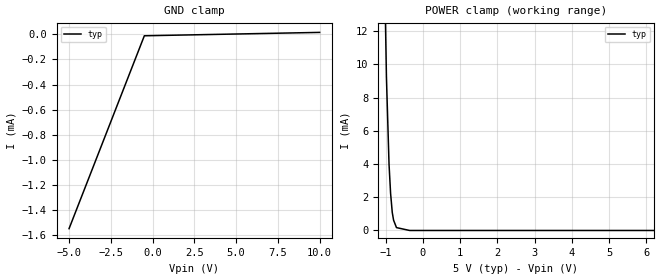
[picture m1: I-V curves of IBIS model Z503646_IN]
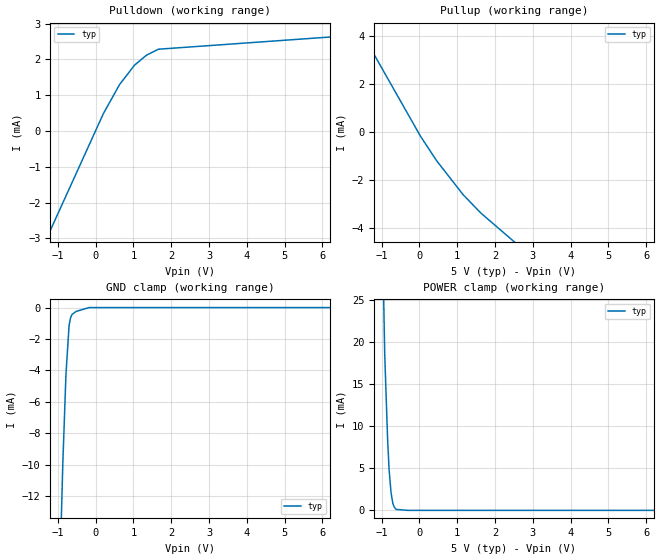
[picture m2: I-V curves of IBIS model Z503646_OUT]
| YOU ARE ONLY AUTHORIZED TO USE THIS SOFTWARE
| ACCORDING TO LICENSOR'S LICENSE RESTRICTIONS.
[IBIS Ver] 3.1
[File Name] mc14527bd.ibs
[File Rev] 2.0
[Source] Measured and created by ICX Technology
[Date] Friday 7/14/00 9:07:56 AM
[Copyright]
| (C) COPYRIGHT 1993-2000
| MENTOR GRAPHICS CORPORATION
| ICX STANDARD LIBRARY, ICX PROJECT MODELING,
| ICX CUSTOM MODELING, ICX VENDOR MODEL
| ALL RIGHTS RESERVED.
| THE FOLLOWING ARE TRADEMARKS OR SERVICE MARKS OF
| MENTOR GRAPHICS CORPORATION:ICX (R), ICX STANDARD
| LIBRARY(R), ICX PROJECT MODELING(R), ICX CUSTOM
| MODELING(R), qualityIBIS(TM), MODELVIEWER(TM),
| AND MODELEDITOR(TM)
| ALL COPIES OF SOFTWARE, INCLUDING BUT NOT LIMITED TO
| ANY MODIFICATIONS, ENHANCEMENTS OR DERIVATIVE WORKS,
| MUST CONTAIN ALL MENTOR GRAPHICS CORPORATION'S
| NOTICES AND LEGENDS, INCLUDING THOSE EMBEDDED IN
| SOFTWARE AND THOSE AFFIXED TO SOFTWARE MEDIUM
| AND CONTAINER, AS RECEIVED FROM MENTOR GRAPHICS
| CORPORATION.
|  ZAP Model Builder 2.7
[Component] MC14527BD
[Manufacturer] OnSemiconductor
[Package]
| variable   typ   min   max
R_pkg  .156ohms NA NA
L_pkg  3.148nH NA NA
C_pkg  .388pF NA NA
[Pin] signal_name  model_name  R_pin  L_pin C_pin
1 9OUT Z503646_OUT .162 3.798n .418p
2 C Z503646_IN .158 3.358n .398p
3 D Z503646_IN .154 2.928n .378p
4 SET9 Z503646_IN .15 2.508n .358p
5 _OUT Z503646_OUT .15 2.508n .358p
6 OUT Z503646_OUT .154 2.928n .378p
7 EOUT Z503646_OUT .158 3.358n .398p
8 VSS POWER .162 3.798n .418p
9 CLK Z503646_IN .162 3.798n .418p
10 STRB Z503646_IN .158 3.358n .398p
11 _EIN Z503646_IN .154 2.928n .378p
12 CASC Z503646_IN .15 2.508n .358p
13 CLR Z503646_IN .15 2.508n .358p
14 A Z503646_IN .154 2.928n .378p
15 B Z503646_IN .158 3.358n .398p
16 VDD POWER .162 3.798n .418p
| Models and submodels in the file (2): Z503646_IN (Input), Z503646_OUT (Output)
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| (C) COPYRIGHT 1993-2000
| MENTOR GRAPHICS CORPORATION
| ICX STANDARD LIBRARY, ICX PROJECT MODELING,
| ICX CUSTOM MODELING, ICX VENDOR MODEL
| ALL RIGHTS RESERVED.
| THE FOLLOWING ARE TRADEMARKS OR SERVICE MARKS OF
| MENTOR GRAPHICS CORPORATION:ICX (R), ICX STANDARD
| LIBRARY(R), ICX PROJECT MODELING(R), ICX CUSTOM
| MODELING(R), qualityIBIS(TM), MODELVIEWER(TM),
| AND MODELEDITOR(TM)
| ALL COPIES OF SOFTWARE, INCLUDING BUT NOT LIMITED TO
| ANY MODIFICATIONS, ENHANCEMENTS OR DERIVATIVE WORKS,
| MUST CONTAIN ALL MENTOR GRAPHICS CORPORATION'S
| NOTICES AND LEGENDS, INCLUDING THOSE EMBEDDED IN
| SOFTWARE AND THOSE AFFIXED TO SOFTWARE MEDIUM
| AND CONTAINER, AS RECEIVED FROM MENTOR GRAPHICS
| CORPORATION.
| Model Application Version 1.89 2/18/99.
[Model] Z503646_IN
Model_type Input
Vinl = 1.500V
Vinh = 3.500V
C_comp 4.000pF NA NA
| variable typ   min   max
[Voltage Range] 5.000V NA NA
[GND Clamp Reference] 0.000V NA NA
[POWER Clamp Reference] 5.000V NA NA
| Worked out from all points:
|   POWER clamp passes 1 mA (typ) near -0.81 V on its own axis
[GND Clamp]
-5V       -1.55mA    NA         NA
-493.1mV  -11.09uA   NA         NA
10V       15.87uA    NA         NA
[POWER Clamp]
-5V       523.4mA    NA         NA
-977mV    9.262mA    NA         NA
-907mV    3.99mA     NA         NA
-865mV    2.232mA    NA         NA
-820mV    1.08mA     NA         NA
-785mV    620.7uA    NA         NA
-707mV    172.9uA    NA         NA
-353.5mV  0A         NA         NA
10V       0A         NA         NA
| (C) COPYRIGHT 1993-2000
| MENTOR GRAPHICS CORPORATION
| ICX STANDARD LIBRARY, ICX PROJECT MODELING,
| ICX CUSTOM MODELING, ICX VENDOR MODEL
| ALL RIGHTS RESERVED.
| THE FOLLOWING ARE TRADEMARKS OR SERVICE MARKS OF
| MENTOR GRAPHICS CORPORATION:ICX (R), ICX STANDARD
| LIBRARY(R), ICX PROJECT MODELING(R), ICX CUSTOM
| MODELING(R), qualityIBIS(TM), MODELVIEWER(TM),
| AND MODELEDITOR(TM)
| ALL COPIES OF SOFTWARE, INCLUDING BUT NOT LIMITED TO
| ANY MODIFICATIONS, ENHANCEMENTS OR DERIVATIVE WORKS,
| MUST CONTAIN ALL MENTOR GRAPHICS CORPORATION'S
| NOTICES AND LEGENDS, INCLUDING THOSE EMBEDDED IN
| SOFTWARE AND THOSE AFFIXED TO SOFTWARE MEDIUM
| AND CONTAINER, AS RECEIVED FROM MENTOR GRAPHICS
| CORPORATION.
| Model Application Version 1.89 2/18/99.
[Model] Z503646_OUT
Model_type Output
Vref=0.000V
Rref=500.0Mohms
Cref=50.00pF
Vmeas=2.500V
C_comp 8.000pF NA NA
| variable typ   min   max
[Voltage Range] 5.000V NA NA
[POWER Clamp Reference] 5.000V NA NA
[Pullup Reference] 5.000V NA NA
[Pulldown Reference] 0.000V NA NA
[GND Clamp Reference] 0.000V NA NA
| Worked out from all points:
|   slope of the pulldown table from 0 to 0.75 V, typ, clamps not added: 518 ohm
|   slope of the pullup table from 0 to 0.75 V, typ, clamps not added: 443 ohm
|   GND clamp passes 1 mA (typ) near -0.69 V on its own axis
|   POWER clamp passes 1 mA (typ) near -0.71 V on its own axis
[GND Clamp]
-5V       -375.6mA   NA         NA
-868.3mV  -9.923mA   NA         NA
-785.8mV  -4.285mA   NA         NA
-703mV    -1.152mA   NA         NA
-664.1mV  -655.5uA   NA         NA
-626.1mV  -440.8uA   NA         NA
-517.3mV  -246.6uA   NA         NA
-341.8mV  -119.3uA   NA         NA
-170.9mV  0A         NA         NA
10V       0A         NA         NA
[Pulldown]
-5V       -11.61mA   NA         NA
205.1mV   486.8uA    NA         NA
634.8mV   1.3mA      NA         NA
1.028V    1.839mA    NA         NA
1.342V    2.115mA    NA         NA
1.66V     2.285mA    NA         NA
10V       2.91mA     NA         NA
[Pullup]
-5V       13.77mA    NA         NA
24mV      -158.4uA   NA         NA
454mV     -1.188mA   NA         NA
1.157V    -2.606mA   NA         NA
1.627V    -3.372mA   NA         NA
10V       -14.71mA   NA         NA
[POWER Clamp]
-5V       998.7mA    NA         NA
-917mV    18.58mA    NA         NA
-840mV    8.393mA    NA         NA
-801mV    4.814mA    NA         NA
-750mV    2.099mA    NA         NA
-703mV    839.6uA    NA         NA
-668mV    408.6uA    NA         NA
-615mV    111.6uA    NA         NA
-307.5mV  0A         NA         NA
10V       0A         NA         NA
[Ramp]
| variable typ min max
dV/dt_r 2.573/13.33n NA NA
dV/dt_f 2.573/15.55n NA NA
R_load = 2.500kOhms
